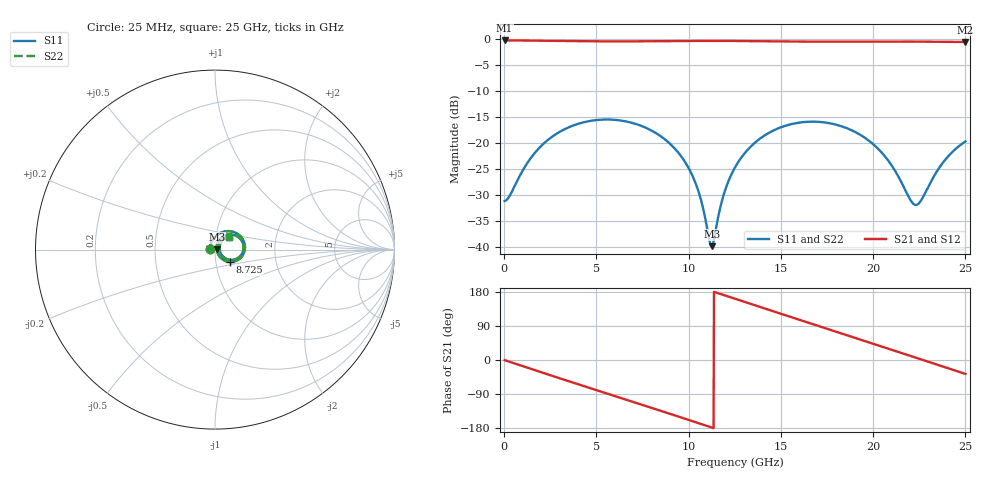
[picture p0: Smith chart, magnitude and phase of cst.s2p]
! thru_BV_vna_clk_w5_out: 2×thru In3.Cu, 6 mm
! stackup: as the board case
! ports: 1 near, 2 far
! CST Studio Suite 2025.5 Release from 2025-05-30, time domain (FIT, hexahedral, PBA), 101050 mesh cells, 30 s
! mesh: {'lpw': 20, 'lpb': 20, 'minstep': 0.0, 'ratio': 20}; ports: port 1 (face); port 2 (face)
! interpolated from CST's 1001 samples to the case grid
# Hz S RI R 50
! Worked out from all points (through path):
!   1000 points, 25 MHz to 25 GHz, reference 50 ohm
!   highest |S21| = -0.25 dB at 25 MHz (marker M1); lowest = -0.6 dB at 25 GHz (marker M2)
!   group delay of S21, straight-line fit = 44 ps
!   lowest |S11| = -39.9 dB at 11.25 GHz (marker M3), VSWR 1.02, Z = 51 + j0.126 ohm
!   |S11| at or under -10 dB: start of sweep to end of sweep
!   |S22| runs from -39.9 to -15.5 dB; largest |S21 - S12| = 8.9e-07
!   S11 on the Smith chart (normalised r, x): 25 MHz: 0.95, +0.00; 8.725 GHz: 1.17, -0.16; 25 GHz: 1.15, +0.16
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2.5e7  -0.0276 0.00137  0.9717 -0.00684  0.9717 -0.00684  -0.0276 0.00137
1.975e9  0.0233 0.0893  0.822 -0.5092  0.822 -0.5092  0.0233 0.0893
4.2e9  0.1324 0.0831  0.3733 -0.8802  0.3733 -0.8802  0.1324 0.083
6.25e9  0.1649 -0.00567  -0.1488 -0.9399  -0.1488 -0.9399  0.1649 -0.00576
8.35e9  0.0995 -0.068  -0.6381 -0.7118  -0.6381 -0.7118  0.0995 -0.068
8.725e9  0.0829 -0.0689  -0.7091 -0.6429  -0.7091 -0.6429  0.0829 -0.0689
9.575e9  0.0475 -0.0582  -0.8419 -0.4609  -0.8419 -0.4609  0.0474 -0.0582
1.0225e10  0.0262 -0.0396  -0.9127 -0.3021  -0.9127 -0.3021  0.0262 -0.0396
1.0625e10  0.0171 -0.0248  -0.9413 -0.1985  -0.9413 -0.1985  0.0171 -0.0248
1.1125e10  0.0107 -0.00414  -0.9601 -0.0652  -0.9601 -0.0652  0.0107 -0.00415
1.125e10  0.01 0.00123  -0.9618 -0.0315  -0.9618 -0.0315  0.01 0.00123
1.1925e10  0.013 0.0301  -0.95 0.1498  -0.95 0.1498  0.013 0.0301
1.2525e10  0.0245 0.0532  -0.9104 0.3061  -0.9104 0.3061  0.0245 0.0532
1.425e10  0.0883 0.0843  -0.6618 0.6874  -0.6618 0.6874  0.0884 0.0843
1.5475e10  0.1354 0.0655  -0.3947 0.8635  -0.3947 0.8635  0.1354 0.0654
1.6675e10  0.1587 0.0228  -0.0943 0.9418  -0.0943 0.9418  0.1587 0.0226
1.8675e10  0.1281 -0.0466  0.411 0.8527  0.411 0.8527  0.128 -0.0468
2.085e10  0.0502 -0.0435  0.8243 0.4696  0.8243 0.4696  0.05 -0.0436
2.2025e10  0.0269 -0.00805  0.9309 0.1783  0.9309 0.1783  0.0267 -0.00809
2.235e10  0.025 0.00351  0.9427 0.0929  0.9427 0.0929  0.0249 0.00349
2.3825e10  0.0416 0.0513  0.8969 -0.291  0.8969 -0.291  0.0415 0.0513
2.5e10  0.0759 0.0703  0.7527 -0.5608  0.7527 -0.5608  0.0759 0.0703
